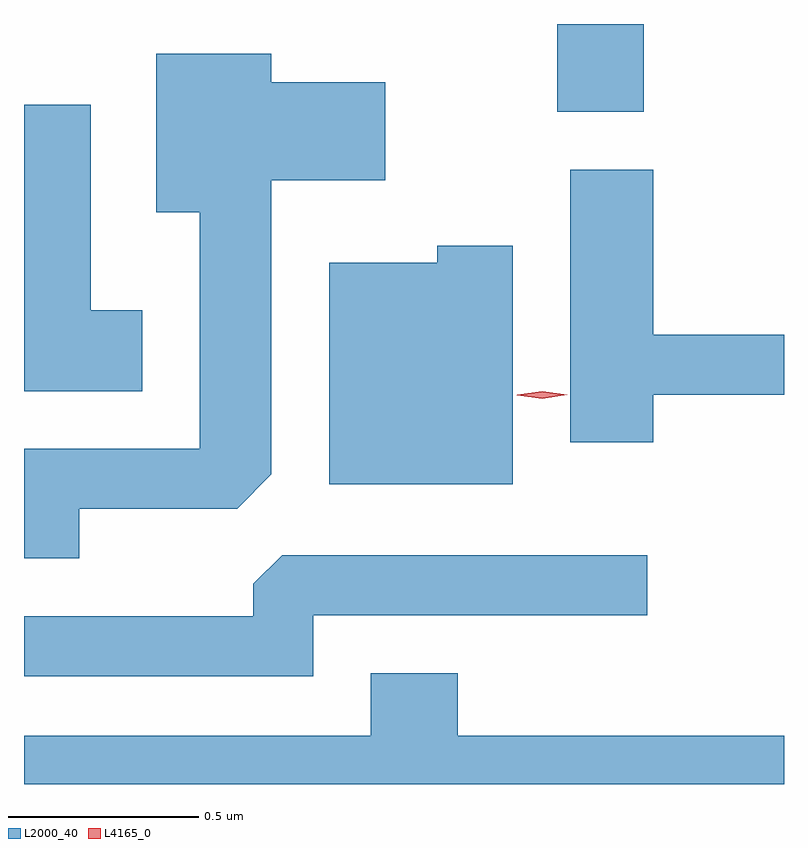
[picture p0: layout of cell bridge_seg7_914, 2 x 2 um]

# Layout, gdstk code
import gdstk
lib = gdstk.Library(unit=1e-6, precision=1e-09)
def R(c, l, rs):  # rectangles x0, y0, x1, y1
    for r in rs: c.add(gdstk.rectangle(r[:2], r[2:], *l))
def P(c, l, *ps):  # polygons
    for p in ps: c.add(gdstk.Polygon(p, *l))
L2000_40 = (2000, 40)
L4165_0 = (4165, 0)

bridge_seg7_914 = lib.new_cell('bridge_seg7_914')
R(bridge_seg7_914, L2000_40, [(227.821,1696.246,228.049,1696.477)])
P(bridge_seg7_914, L2000_40, [(226.564,1695.201),(226.979,1695.201),(227.069,1695.292),(227.069,1696.066),(227.369,1696.066),(227.369,1696.324),(227.069,1696.324),(227.069,1696.399),(226.766,1696.399),(226.766,1695.981),(226.881,1695.981),(226.881,1695.359),(226.418,1695.359),(226.418,1695.071),(226.564,1695.071)],
  [(226.729,1695.724),(226.594,1695.724),(226.594,1696.264),(226.418,1696.264),(226.418,1695.511),(226.729,1695.511)],
  [(228.074,1695.501),(228.418,1695.501),(228.418,1695.659),(228.074,1695.659),(228.074,1696.094),(227.856,1696.094),(227.856,1695.376),(228.074,1695.376)],
  [(227.704,1695.894),(227.506,1695.894),(227.506,1695.849),(227.221,1695.849),(227.221,1695.266),(227.704,1695.266)],
  [(227.179,1694.921),(228.058,1694.921),(228.058,1695.079),(227.097,1695.079),(227.021,1695.004),(227.021,1694.919),(226.418,1694.919),(226.418,1694.761),(227.179,1694.761)],
  [(228.418,1694.604),(227.559,1694.604),(227.559,1694.769),(227.331,1694.769),(227.331,1694.604),(226.418,1694.604),(226.418,1694.477),(228.418,1694.477)])
P(bridge_seg7_914, L4165_0, [(227.782,1695.491),(227.716,1695.5),(227.715,1695.5),(227.716,1695.501),(227.782,1695.511),(227.848,1695.502),(227.848,1695.501),(227.848,1695.501)])

lib.write_gds('bridge_seg7_914.gds')
